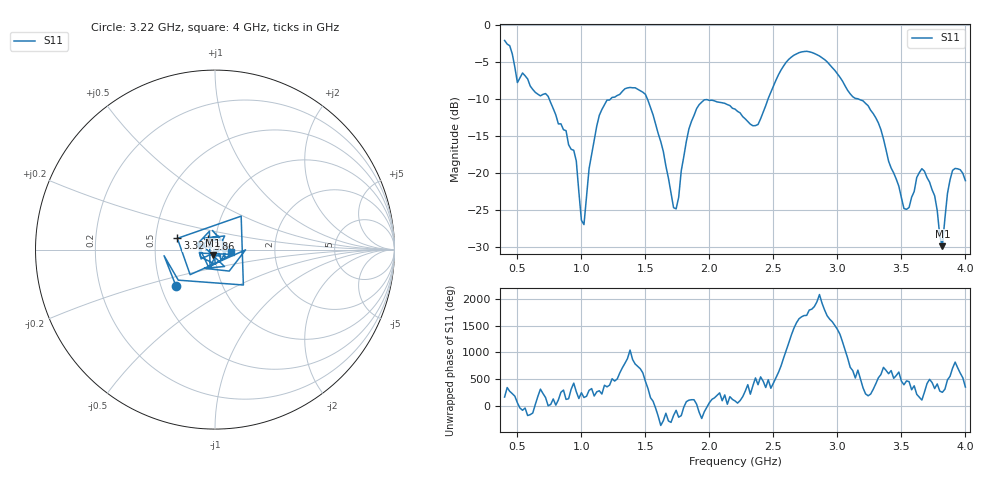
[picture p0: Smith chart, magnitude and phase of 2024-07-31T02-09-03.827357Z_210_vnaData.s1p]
!Created with skrf (http://scikit-rf.org).
# Hz S RI R 50.0
!freq ReS11 ImS11
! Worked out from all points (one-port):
!   181 points, 400 MHz to 4 GHz, reference 50 ohm
!   lowest |S11| = -29.9 dB at 3.82 GHz (marker M1), VSWR 1.07, Z = 49 - j2.98 ohm
!   |S11| at or under -10 dB: 749.2 MHz to 1.226 GHz (476.8 MHz wide, 48.3 % of centre); 1.516 GHz to 2.458 GHz (941.1 MHz wide, 47.4 % of centre); 3.168 GHz to end of sweep
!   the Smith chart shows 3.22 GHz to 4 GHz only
!   S11 on the Smith chart (normalised r, x): 3.22 GHz: 0.60, -0.26; 3.32 GHz: 0.65, +0.09; 3.86 GHz: 0.91, +0.11; 4 GHz: 1.19, -0.03
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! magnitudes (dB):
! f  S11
! 400 MHz  -2.0
! 500 MHz  -7.7
! 720 MHz  -9.2
! 860 MHz  -14.1
! 960 MHz  -18.4
! 1 GHz  -26.4
! 1.02 GHz  -27.0
! 1.06 GHz  -19.4
! 1.14 GHz  -12.2
! 1.3 GHz  -9.3
! 1.5 GHz  -9.3
! 1.72 GHz  -24.7
! 1.76 GHz  -23.3
! 1.84 GHz  -14.0
! 1.92 GHz  -10.7
! 2.2 GHz  -11.3
! 2.38 GHz  -13.4
! 2.66 GHz  -4.0
! 3.1 GHz  -9.3
! 3.22 GHz  -10.6
! 3.32 GHz  -13.2
! 3.56 GHz  -24.7
! 3.68 GHz  -19.8
! 3.76 GHz  -23.1
! 3.82 GHz  -29.9
! 3.86 GHz  -22.8
! 3.92 GHz  -19.4
! 4 GHz  -21.0
